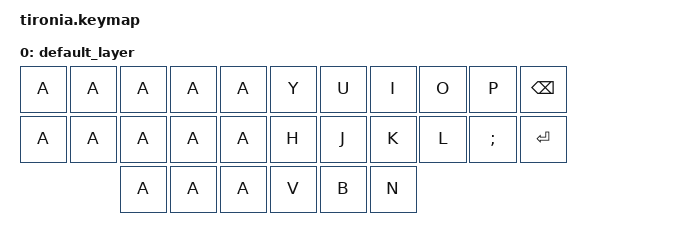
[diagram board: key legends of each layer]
#include <behaviors.dtsi>
#include <dt-bindings/zmk/keys.h>
#include <dt-bindings/zmk/bt.h>
#include <dt-bindings/zmk/outputs.h>


/ {
    keymap {
        compatible = "zmk,keymap";

        default_layer {
            
            bindings = <

                &kp A     &kp A     &kp A     &kp A     &kp A           &kp Y     &kp U     &kp I     &kp O     &kp P     &kp BSPC
                &kp A     &kp A     &kp A     &kp A     &kp A           &kp H     &kp J     &kp K     &kp L     &kp SEMI  &kp RET
                                    &kp A     &kp A     &kp A           &kp V     &kp B     &kp N
            >;
        };
    };
};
